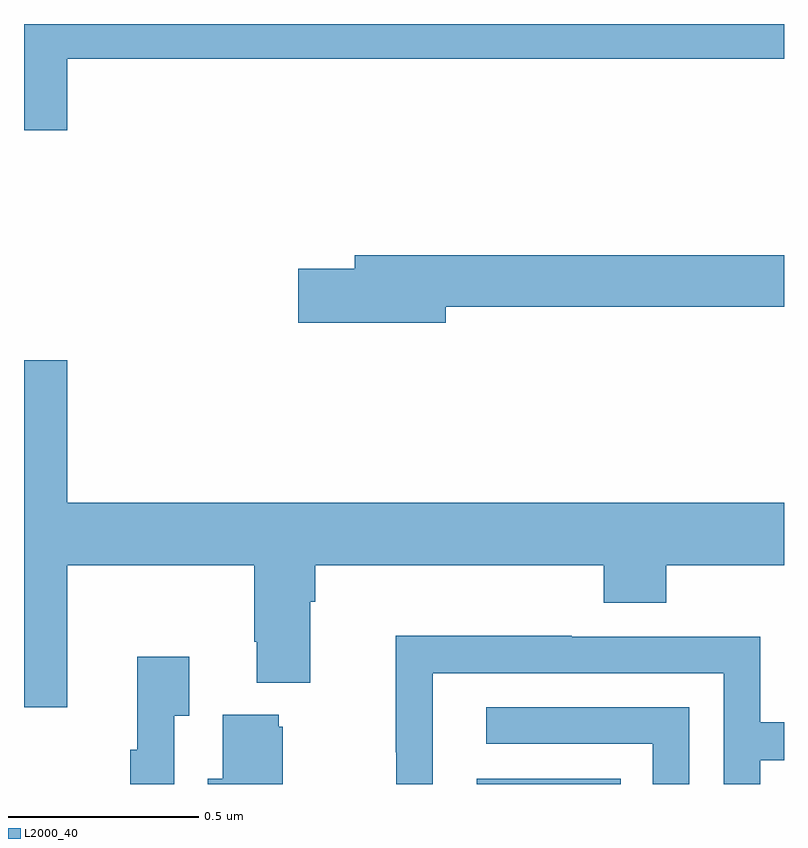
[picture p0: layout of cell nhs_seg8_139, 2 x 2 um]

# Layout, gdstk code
import gdstk
lib = gdstk.Library(unit=1e-6, precision=1e-09)
def R(c, l, rs):  # rectangles x0, y0, x1, y1
    for r in rs: c.add(gdstk.rectangle(r[:2], r[2:], *l))
def P(c, l, *ps):  # polygons
    for p in ps: c.add(gdstk.Polygon(p, *l))
L2000_40 = (2000, 40)

nhs_seg8_139 = lib.new_cell('nhs_seg8_139')
R(nhs_seg8_139, L2000_40, [(113.192,1139.9,113.57,1139.914)])
P(nhs_seg8_139, L2000_40, [(112.114,1141.808),(114,1141.808),(114,1141.9),(112,1141.9),(112,1141.62),(112.114,1141.62)],
  [(113.11,1141.156),(114,1141.156),(114,1141.292),(112.871,1141.292),(112.871,1141.256),(112.722,1141.256),(112.722,1141.114),(113.11,1141.114)],
  [(112.114,1140.476),(112.606,1140.476),(112.606,1140.274),(112.613,1140.274),(112.613,1140.167),(112.753,1140.167),(112.753,1140.38),(112.766,1140.38),(112.766,1140.476),(113.525,1140.476),(113.525,1140.377),(113.69,1140.377),(113.69,1140.476),(114,1140.476),(114,1140.64),(112.114,1140.64),(112.114,1141.015),(112,1141.015),(112,1140.102),(112.114,1140.102)],
  [(113.076,1140.192),(113.841,1140.192),(113.841,1139.9),(113.937,1139.9),(113.937,1139.962),(114,1139.962),(114,1140.063),(113.937,1140.063),(113.937,1140.288),(113.441,1140.288),(113.441,1140.29),(112.978,1140.29),(112.978,1139.983),(112.98,1139.983),(112.98,1139.9),(113.076,1139.9)],
  [(112.395,1140.079),(112.435,1140.079),(112.435,1140.235),(112.298,1140.235),(112.298,1139.99),(112.279,1139.99),(112.279,1139.9),(112.395,1139.9)],
  [(113.751,1140.102),(113.217,1140.102),(113.217,1140.006),(113.655,1140.006),(113.655,1139.9),(113.751,1139.9)],
  [(112.681,1140.051),(112.67,1140.051),(112.67,1140.082),(112.523,1140.082),(112.523,1139.914),(112.484,1139.914),(112.484,1139.9),(112.681,1139.9)])

lib.write_gds('nhs_seg8_139.gds')
